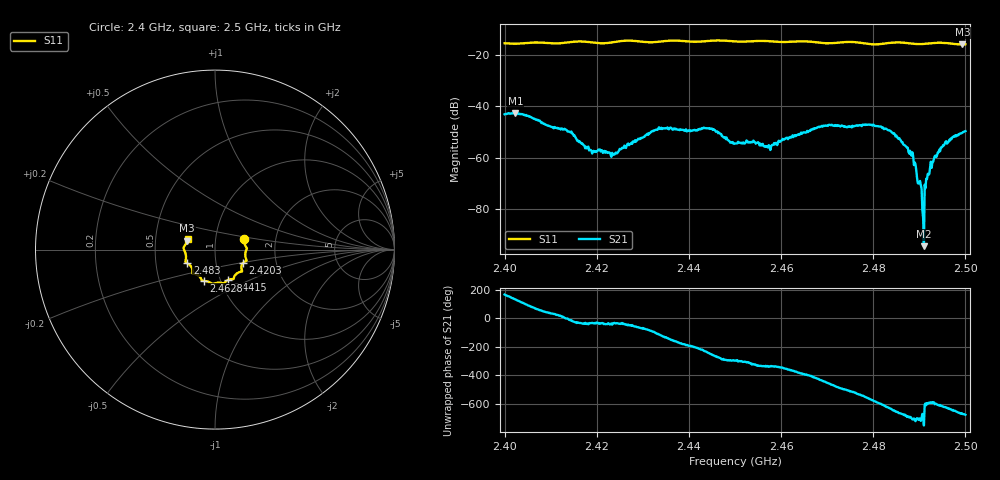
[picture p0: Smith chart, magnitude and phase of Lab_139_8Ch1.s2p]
# Hz S RI R 50
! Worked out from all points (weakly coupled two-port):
!   601 points, 2.4 GHz to 2.5 GHz, reference 50 ohm
!   highest |S21| = -42.54 dB at 2.4023 GHz (marker M1); lowest = -94.6 dB at 2.491 GHz (marker M2)
!   lowest |S11| = -15.8 dB at 2.4993 GHz (marker M3), VSWR 1.39, Z = 36.4 + j3.67 ohm
!   |S11| at or under -10 dB: start of sweep to end of sweep
!   S12 and S22 are empty: the file has one direction only
!   S11 on the Smith chart (normalised r, x): 2.4 GHz: 1.38, +0.16; 2.4203 GHz: 1.35, -0.21; 2.4415 GHz: 1.09, -0.38; 2.4628 GHz: 0.83, -0.30; 2.483 GHz: 0.73, -0.11; 2.5 GHz: 0.73, +0.09
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2.4e9  0.162 0.0567  -0.00686 0.00151  0 0  0 0
2.402333e9  0.165 0.0322  -0.00511 0.00543  0 0  0 0
2.4135e9  0.1713 -0.0467  0.00343 -5.58e-05  0 0  0 0
2.416667e9  0.1754 -0.0621  0.00156 -0.00105  0 0  0 0
2.420333e9  0.1558 -0.0747  0.00121 -0.000768  0 0  0 0
2.424e9  0.1478 -0.1076  0.000998 -0.000688  0 0  0 0
2.433333e9  0.1084 -0.1482  -0.00117 -0.00345  0 0  0 0
2.4415e9  0.0731 -0.1688  -0.00306 0.00141  0 0  0 0
2.445167e9  0.0513 -0.1865  -0.000799 0.00338  0 0  0 0
2.45e9  0.0296 -0.1845  0.000836 0.00169  0 0  0 0
2.457333e9  -0.0193 -0.1879  0.00164 0.000599  0 0  0 0
2.462833e9  -0.0625 -0.1744  0.00263 -0.000438  0 0  0 0
2.466667e9  -0.0751 -0.1674  0.00244 -0.00259  0 0  0 0
2.483e9  -0.1542 -0.0765  -0.000464 0.00351  0 0  0 0
2.483333e9  -0.1564 -0.0753  -0.000141 0.00341  0 0  0 0
2.488167e9  -0.1619 -0.0505  0.00104 0.000504  0 0  0 0
2.4905e9  -0.1637 -0.0235  0.000218 0.00011  0 0  0 0
2.491e9  -0.1654 -0.0178  1.58e-05 -9.75e-06  0 0  0 0
2.492e9  -0.1693 -0.00733  -0.000283 0.000364  0 0  0 0
2.493833e9  -0.1751 0.00608  -0.000477 0.000995  0 0  0 0
2.499333e9  -0.1551 0.0491  0.00192 0.00238  0 0  0 0
2.5e9  -0.1532 0.0577  0.00238 0.00227  0 0  0 0
